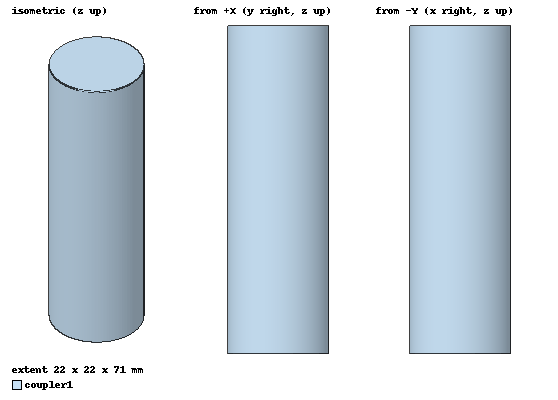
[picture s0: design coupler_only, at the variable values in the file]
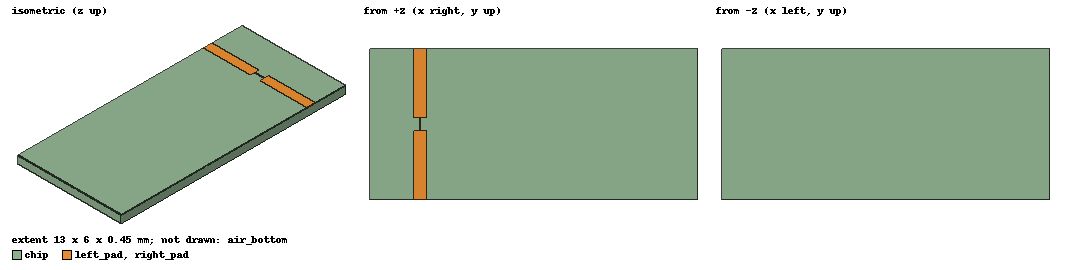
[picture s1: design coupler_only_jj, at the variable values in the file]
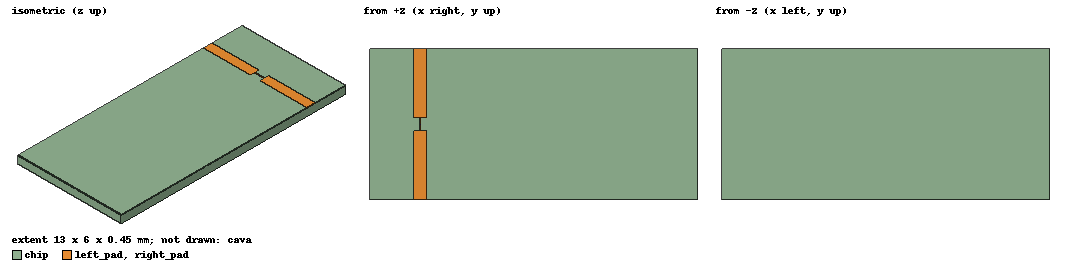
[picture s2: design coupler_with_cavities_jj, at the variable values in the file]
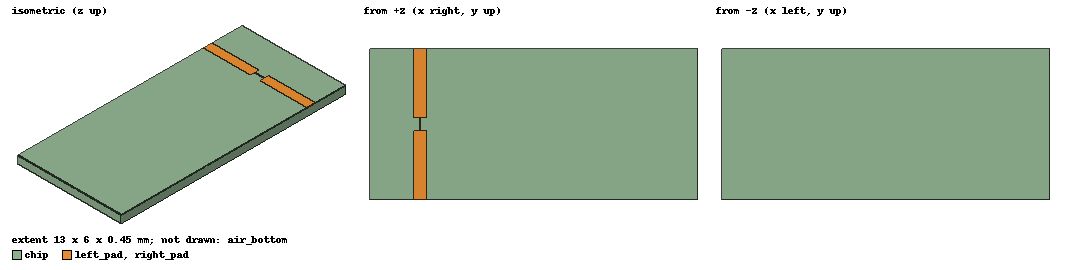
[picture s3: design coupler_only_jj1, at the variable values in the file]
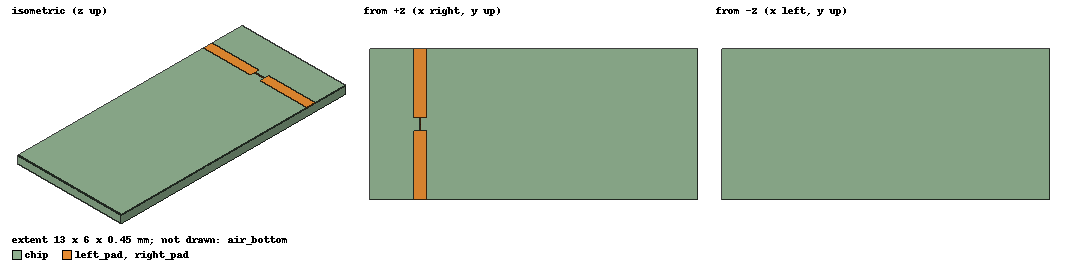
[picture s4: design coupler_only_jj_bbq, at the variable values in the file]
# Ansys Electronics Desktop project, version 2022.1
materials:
  vacuum: permittivity=1
  pec: conductivity=1e+30
  sapphire: permittivity=10 dielectric_loss_tangent=1.5e-08
  stycast: permittivity=2.772 dielectric_loss_tangent=5e-06 delta_H_freq=3000000

design coupler_only (HFSS, Eigenmode, model units mm)
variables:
  r_cpl = 10mm
  h_cpl = 70mm
  r_post = 2mm
  l_post = 7mm
  post_offset = 2mm
  h_bottom = 1mm
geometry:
  r_post = cylinder(axis=Z, base_centre=(0mm, post_offset/2 + r_post, 0mm), radius=r_post, height=l_post)
  l_post = cylinder(axis=Z, base_centre=(0mm, -post_offset/2-r_post, 0mm), radius=r_post, height=l_post)
  cavity_bottom = cylinder(axis=Z, base_centre=(0mm, 0mm, -h_bottom), radius=r_cpl, height=h_bottom)
  chip_slot = box(corner=(-r_post, -post_offset/2 - post_offset, -h_bottom), size=(r_cpl + r_post, post_offset + 2*post_offset, h_bottom))
  cavity_bottom.subtract(chip_slot)
  cavity_bottom.unite(l_post, r_post)
  coupler1 [vacuum] = cylinder(axis=Z, base_centre=(0mm, 0mm, -h_bottom), radius=1.1*r_cpl, height=h_cpl+h_bottom)
  coupler1.subtract(cavity_bottom)
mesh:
  Length1: LengthBased Faces=coupler1.face(2 of 3, at (-0.230304, 0, 0)) MaxLength=1mm
  Length2: LengthBased Faces=coupler1.face(1 of 3) MaxLength=5mm
  Length3: LengthBased Faces=coupler1.face(3 of 3) MaxLength=4.4mm
  Length4: LengthBased RefineInside Objects=coupler1 MaxLength=5mm
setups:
  Setup1: HfssEigen MinimumFrequency=2.14286GHz NumModes=2 MaxDeltaFreq=0.01 ConvergeOnRealFreq=true MaximumPasses=30 MinimumPasses=1 MinimumConvergedPasses=1 PercentRefinement=30 BasisOrder=-1
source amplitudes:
  #-10:1: 0 0deg
  #-10:2: 1 0deg
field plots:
  Vector_E1: E Field in coupler1 on Setup1 : LastAdaptive at Phase=0deg
  Vector_Jsurf1: Jsurf over coupler1.face(all 14) on Setup1 : LastAdaptive at Phase=90deg

design coupler_only_jj (HFSS, Eigenmode, model units mm)
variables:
  r_cpl = 10mm
  h_cpl = 75mm
  r_post = 2mm
  l_post = 7mm
  post_offset = 2mm
  h_bottom = 1mm
  w_pad = 0.5mm
  l_pad = w_slot/2-l_taper-l_junc/2
  l_junc = 50um
  w_junc = 50um
  l_taper = 0.25mm
  w_slot = post_offset+2*r_post
  LJ = 1nH
  h_chip = 0.45mm
  coupler_offset = 5mm
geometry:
  r_post = cylinder(axis=Z, base_centre=(0mm, post_offset/2 + r_post, 0mm), radius=r_post, height=l_post)
  l_post = cylinder(axis=Z, base_centre=(0mm, -post_offset/2-r_post, 0mm), radius=r_post, height=l_post)
  coupler1 = cylinder(axis=Z, base_centre=(0mm, 0mm, -h_bottom), radius=r_cpl, height=h_cpl+h_bottom)
  chip [sapphire] = box(corner=(-r_post, -w_slot/2, -h_chip), size=(1.1*r_cpl + r_post, w_slot, h_chip))
  left_pad = rectangle(corner=(-w_pad/2, -l_pad-l_taper-l_junc/2, 0mm), x_size=w_pad, y_size=l_pad)
  right_pad = rectangle(corner=(-w_pad/2, l_taper+l_junc/2, 0mm), x_size=w_pad, y_size=l_pad)
  left_taper = rectangle(corner=(-w_junc/2, -l_taper-l_junc/2, 0mm), x_size=w_junc, y_size=l_taper)
  right_taper = rectangle(corner=(-w_junc/2, l_junc/2, 0mm), x_size=w_junc, y_size=l_taper)
  jj = rectangle(corner=(-w_junc/2, -l_junc/2, 0mm), x_size=l_junc, y_size=w_junc)
  air_bottom [vacuum] = cylinder(axis=Z, base_centre=(0mm, 0mm, -h_chip), radius=r_cpl, height=h_chip)
  chip_2 = chip.copy()
  air_bottom.subtract(chip_2)
  air_bottom.unite(coupler1)
  air_bottom.subtract(l_post, r_post)
  chip_3 = chip.copy()
  air_bottom.subtract(chip_3)
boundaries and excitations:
  pads: Perfect E Objects=[left_pad, right_pad, left_taper, right_taper]
  LumpRLC1: Lumped RLC Objects=jj CurrentLine{(0, -0.025, 0) -> (0, 0.025, 0)} RLC_Type=Parallel Inductance=LJ
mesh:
  pads: LengthBased Objects=[right_pad, left_pad] MaxLength=w_pad/2
  junc_and_taper: LengthBased Objects=[right_taper, jj, left_taper] MaxLength=w_junc/2
  chip_inside: LengthBased RefineInside Objects=chip MaxLength=2.6mm
  cavity_top: LengthBased Faces=air_bottom.face(3 of 3) MaxLength=4.4mm
  chip_surface: LengthBased Faces=chip.face(+z) MaxLength=w_pad
  cavity_inside: LengthBased RefineInside Objects=air_bottom MaxLength=14.09mm
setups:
  Setup1: HfssEigen MinimumFrequency=0.1GHz NumModes=8 MaxDeltaFreq=0.05 ConvergeOnRealFreq=true MaximumPasses=35 MinimumPasses=1 MinimumConvergedPasses=1 PercentRefinement=30 BasisOrder=-1 ExpressionCache{CacheItem{Title=Q_1_1 Expression=Q(1) IsConvergence UseRelativeConvergence=1 MaxConvergenceDelta=10 MaxConvergeValue=0.01 TraceID=2336 ReportType=2} CacheItem{Title=Q_2_1 Expression=Q(2) IsConvergence UseRelativeConvergence=1 MaxConvergenceDelta=10 MaxConvergeValue=0.01 TraceID=2338 ReportType=2}}
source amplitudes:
  #-10:1: 1 0deg
  #-10:2..#-10:8: 0 0deg
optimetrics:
  LJ_sweep: Parametric Sim._Setups=[Setup1]
    sweep LJ: DEC 0.1nH 100nH 3
  hcpl_sweep: Parametric Sim._Setups=[Setup1]
    sweep h_cpl: LIN 75mm 350mm 25mm
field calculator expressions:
  IJ = Mag_Jsurf | EnterSurface(jj) | SurfaceValue | Integrate
  Uvac = Mag_E | 2 | Pow | EnterVolume(air_bottom) | VolumeValue | Integrate
  Uchip = Mag_E | 2 | Pow | EnterVolume(chip) | VolumeValue | Integrate | 11.49 | *
  Utot = Uvac | Uchip | +
  pe_chip = Uchip | Utot | /
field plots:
  Mesh1: MeshPlots on Setup1 : LastAdaptive at Phase=0deg
  Vector_Jsurf1: Jsurf over air_bottom.face(all 14) chip.face(all 6) left_pad.face right_pad.face left_taper.face right_taper.face jj.face on Setup1 : LastAdaptive at Phase=90deg
  Vector_E1: E Field on Setup1 : LastAdaptive at Phase=0deg
  Vector_H1: H Field on Setup1 : LastAdaptive at Phase=90deg
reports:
  Eigen Modes Plot 1: re(Mode(2)), re(Mode(1)), re(Mode(3)), re(Mode(4)) vs LJ on Setup1 : LastAdaptive; markers m1 at 0.1nH, m2 at 100nH, m3 at 0.1nH
   Plot 1: re(Mode(2)) - re(Mode(1)) vs LJ on Setup1 : LastAdaptive
  Solution Convergence Plot 1: MaxDeltaFreq vs Pass on Setup1 : AdaptivePass [LJ=all]
  Eigen Q Plot 1: Q(2), Q(1) vs LJ on Setup1 : LastAdaptive
  Calculator Expressions Plot 1: pe_chip vs LJ on Setup1 : LastAdaptive [h_cpl=75mm Phase=0deg]; markers m1 at 100nH, m2 at 10nH, m3 at 1nH

design coupler_with_cavities_jj (HFSS, Eigenmode, model units mm)
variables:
  r_cpl = 10mm
  h_cpl = 75mm
  r_post = 2mm
  l_post = 7mm
  post_offset = 2mm
  h_bottom = 1mm
  w_pad = 0.5mm
  l_pad = w_slot/2-l_taper-l_junc/2
  l_junc = 50um
  w_junc = 50um
  l_taper = 0.25mm
  w_slot = post_offset+2*r_post
  LJ = 1nH
  h_chip = 0.45mm
  r_a = 15mm
  l_a = 75mm
  coupler_offset = 2mm
  ra_post = 3mm
  la_post = 10mm
  r_b = 15mm
  l_b = 75mm
  rb_post = 3mm
  lb_post = 12mm
  r_cpl_arm = 4mm
  l_cpl_arm = 6mm
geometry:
  r_post = cylinder(axis=Z, base_centre=(0mm, post_offset/2 + r_post, 0mm), radius=r_post, height=l_post)
  l_post = cylinder(axis=Z, base_centre=(0mm, -post_offset/2-r_post, 0mm), radius=r_post, height=l_post)
  coupler1 = cylinder(axis=Z, base_centre=(0mm, 0mm, -h_bottom), radius=r_cpl, height=h_cpl+h_bottom)
  chip [sapphire] = box(corner=(-r_post, -w_slot/2, -h_chip), size=(1.1*r_cpl + r_post, w_slot, h_chip))
  left_pad = rectangle(corner=(-w_pad/2, -l_pad-l_taper-l_junc/2, 0mm), x_size=w_pad, y_size=l_pad)
  right_pad = rectangle(corner=(-w_pad/2, l_taper+l_junc/2, 0mm), x_size=w_pad, y_size=l_pad)
  left_taper = rectangle(corner=(-w_junc/2, -l_taper-l_junc/2, 0mm), x_size=w_junc, y_size=l_taper)
  right_taper = rectangle(corner=(-w_junc/2, l_junc/2, 0mm), x_size=w_junc, y_size=l_taper)
  jj = rectangle(corner=(-w_junc/2, -l_junc/2, 0mm), x_size=l_junc, y_size=w_junc)
  air_bottom = cylinder(axis=Z, base_centre=(0mm, 0mm, -h_chip), radius=r_cpl, height=h_chip)
  chip_2 = chip.copy()
  air_bottom.subtract(chip_2)
  air_bottom.unite(coupler1)
  air_bottom.subtract(l_post, r_post)
  chip_3 = chip.copy()
  air_bottom.subtract(chip_3)
  cavb = cylinder(axis=Z, base_centre=(0mm, r_cpl+r_b+ coupler_offset, 0mm), radius=r_b, height=l_b)
  cava [vacuum] = cylinder(axis=Z, base_centre=(0mm, -r_cpl-r_a-coupler_offset, 0mm), radius=r_a, height=l_a)
  postb = cylinder(axis=Z, base_centre=(0mm, r_b+r_cpl+coupler_offset, 0mm), radius=rb_post, height=lb_post)
  posta = cylinder(axis=Z, base_centre=(0mm, -r_cpl-r_a-coupler_offset, 0mm), radius=ra_post, height=la_post)
  coupler_a = cylinder(axis=Y, base_centre=(0mm, -r_cpl-1.5*coupler_offset, l_post + r_cpl_arm), radius=r_cpl_arm, height=2*coupler_offset)
  cava.subtract(posta)
  cavb.subtract(postb)
  coupler_b = cylinder(axis=Y, base_centre=(0mm, 0.9*r_cpl, l_post + r_cpl_arm), radius=r_cpl_arm, height=2*coupler_offset)
  cava.unite(air_bottom, coupler_a, coupler_b, cavb)
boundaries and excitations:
  pads: Perfect E Objects=[left_pad, right_pad, left_taper, right_taper]
  LumpRLC1: Lumped RLC Objects=jj CurrentLine{(0, -0.025, 0) -> (0, 0.025, 0)} RLC_Type=Parallel Inductance=LJ
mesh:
  pads: LengthBased Objects=[right_pad, left_pad] MaxLength=w_pad/2
  junc_and_taper: LengthBased Objects=[right_taper, jj, left_taper] MaxLength=w_junc/2
  chip_inside: LengthBased RefineInside Objects=chip MaxLength=2.6mm
  cavity_top: LengthBased Faces=cava.face(3 of 3) MaxLength=4.4mm
  chip_surface: LengthBased Faces=chip.face(+z) MaxLength=w_pad
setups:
  Setup1: HfssEigen MinimumFrequency=0.1GHz NumModes=4 MaxDeltaFreq=0.05 ConvergeOnRealFreq=true MaximumPasses=35 MinimumPasses=1 MinimumConvergedPasses=1 PercentRefinement=30 BasisOrder=-1 ExpressionCache{CacheItem{Title=Q_1_1 Expression=Q(1) IsConvergence UseRelativeConvergence=1 MaxConvergenceDelta=40 MaxConvergeValue=0.01 TraceID=2336 ReportType=2} CacheItem{Title=Q_2_1 Expression=Q(2) IsConvergence UseRelativeConvergence=1 MaxConvergenceDelta=40 MaxConvergeValue=0.01 TraceID=2338 ReportType=2}}
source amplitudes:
  #-10:1: 1 0deg
  #-10:2, #-10:3, #-10:4: 0 0deg
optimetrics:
  LJ_sweep: Parametric Sim._Setups=[Setup1]
    sweep LJ: DEC 0.1nH 100nH 3
  hcpl_sweep: Parametric Sim._Setups=[Setup1]
    sweep h_cpl: LIN 75mm 350mm 25mm
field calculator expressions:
  IJ = Mag_Jsurf | EnterSurface(jj) | SurfaceValue | Integrate
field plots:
  Vector_E1: E Field on Setup1 : LastAdaptive at Phase=0deg
  Vector_H1: H Field on Setup1 : LastAdaptive at Phase=90deg
  Vector_Jsurf1: Jsurf over jj.face on Setup1 : LastAdaptive at Phase=90deg
  Mesh1: MeshPlots on Setup1 : LastAdaptive at Phase=0deg
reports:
  Eigen Modes Plot 1: re(Mode(2)), re(Mode(1)), re(Mode(3)), re(Mode(4)) vs LJ on Setup1 : LastAdaptive; markers m1 at 0.1nH, m2 at 100nH
   Plot 1: re(Mode(2)) - re(Mode(1)) vs LJ on Setup1 : LastAdaptive
  Solution Convergence Plot 1: MaxDeltaFreq vs Pass on Setup1 : AdaptivePass [LJ=all]
  Eigen Q Plot 1: Q(2), Q(1) vs LJ on Setup1 : LastAdaptive

design coupler_only_jj1 (HFSS, Eigenmode, model units mm)
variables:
  r_cpl = 10mm
  h_cpl = 75mm
  r_post = 2mm
  l_post = 2mm
  post_offset = 2mm
  h_bottom = 1mm
  w_pad = 0.5mm
  l_pad = w_slot/2-l_taper-l_junc/2
  l_junc = 50um
  w_junc = 50um
  l_taper = 0.25mm
  w_slot = post_offset+2*r_post
  LJ = 1nH
  h_chip = 0.45mm
  coupler_offset = 5mm
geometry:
  r_post = cylinder(axis=Z, base_centre=(0mm, post_offset/2 + r_post, 0mm), radius=r_post, height=l_post)
  l_post = cylinder(axis=Z, base_centre=(0mm, -post_offset/2-r_post, 0mm), radius=r_post, height=l_post)
  coupler1 = cylinder(axis=Z, base_centre=(0mm, 0mm, -h_bottom), radius=r_cpl, height=h_cpl+h_bottom)
  chip [sapphire] = box(corner=(-r_post, -w_slot/2, -h_chip), size=(1.1*r_cpl + r_post, w_slot, h_chip))
  left_pad = rectangle(corner=(-w_pad/2, -l_pad-l_taper-l_junc/2, 0mm), x_size=w_pad, y_size=l_pad)
  right_pad = rectangle(corner=(-w_pad/2, l_taper+l_junc/2, 0mm), x_size=w_pad, y_size=l_pad)
  left_taper = rectangle(corner=(-w_junc/2, -l_taper-l_junc/2, 0mm), x_size=w_junc, y_size=l_taper)
  right_taper = rectangle(corner=(-w_junc/2, l_junc/2, 0mm), x_size=w_junc, y_size=l_taper)
  jj = rectangle(corner=(-w_junc/2, -l_junc/2, 0mm), x_size=l_junc, y_size=w_junc)
  air_bottom [vacuum] = cylinder(axis=Z, base_centre=(0mm, 0mm, -h_chip), radius=r_cpl, height=h_chip)
  chip_2 = chip.copy()
  air_bottom.subtract(chip_2)
  air_bottom.unite(coupler1)
  air_bottom.subtract(l_post, r_post)
  chip_3 = chip.copy()
  air_bottom.subtract(chip_3)
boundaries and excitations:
  pads: Perfect E Objects=[left_pad, right_pad, left_taper, right_taper]
  LumpRLC1: Lumped RLC Objects=jj CurrentLine{(0, -0.025, 0) -> (0, 0.025, 0)} RLC_Type=Parallel Inductance=LJ
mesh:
  pads: LengthBased Objects=[right_pad, left_pad] MaxLength=w_pad/2
  junc_and_taper: LengthBased Objects=[right_taper, jj, left_taper] MaxLength=w_junc/2
  chip_inside: LengthBased RefineInside Objects=chip MaxLength=2.6mm
  cavity_top: LengthBased Faces=air_bottom.face(3 of 3) MaxLength=4.4mm
  chip_surface: LengthBased Faces=chip.face(+z) MaxLength=w_pad
  cavity_inside: LengthBased RefineInside Objects=air_bottom MaxLength=14.09mm
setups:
  Setup1: HfssEigen MinimumFrequency=0.1GHz NumModes=4 MaxDeltaFreq=0.05 ConvergeOnRealFreq=true MaximumPasses=35 MinimumPasses=1 MinimumConvergedPasses=1 PercentRefinement=30 BasisOrder=-1 ExpressionCache{CacheItem{Title=Q_1_1 Expression=Q(1) IsConvergence UseRelativeConvergence=1 MaxConvergenceDelta=10 MaxConvergeValue=0.01 TraceID=2336 ReportType=2} CacheItem{Title=Q_2_1 Expression=Q(2) IsConvergence UseRelativeConvergence=1 MaxConvergenceDelta=10 MaxConvergeValue=0.01 TraceID=2338 ReportType=2}}
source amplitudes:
  #-10:1, #-10:3, #-10:4: 0 0deg
  #-10:2: 1 0deg
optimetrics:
  LJ_sweep: Parametric Sim._Setups=[Setup1]
    sweep LJ: DEC 0.1nH 100nH 3
  hcpl_sweep: Parametric Sim._Setups=[Setup1]
    sweep h_cpl: LIN 75mm 350mm 25mm
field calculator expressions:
  IJ = Mag_Jsurf | EnterSurface(jj) | SurfaceValue | Integrate
  Uvac = Mag_E | 2 | Pow | EnterVolume(air_bottom) | VolumeValue | Integrate
  Uchip = Mag_E | 2 | Pow | EnterVolume(chip) | VolumeValue | Integrate | 11.49 | *
  Utot = Uvac | Uchip | +
  pe_chip = Uchip | Utot | /
  Ujj = Mag_E | 2 | Pow | EnterSurface(jj) | SurfaceValue | Integrate | 3e-09 | *
  pe_jj = Ujj | Uvac | Uchip | + | Ujj | + | /
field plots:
  Mesh1: MeshPlots on Setup1 : LastAdaptive at Phase=0deg
  Vector_Jsurf1: Jsurf over air_bottom.face(all 14) chip.face(all 6) left_pad.face right_pad.face left_taper.face right_taper.face jj.face on Setup1 : LastAdaptive at Phase=90deg
  Vector_E1: E Field on Setup1 : LastAdaptive at Phase=0deg
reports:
  Eigen Modes Plot 1: re(Mode(2)), re(Mode(1)), re(Mode(3)), re(Mode(4)) vs LJ on Setup1 : LastAdaptive; markers m1 at 0.1nH, m2 at 100nH
   Plot 1: re(Mode(2)) - re(Mode(1)) vs LJ on Setup1 : LastAdaptive
  Solution Convergence Plot 1: MaxDeltaFreq vs Pass on Setup1 : AdaptivePass [LJ=all]
  Eigen Q Plot 1: Q(2), Q(1) vs LJ on Setup1 : LastAdaptive
  Calculator Expressions Plot 1: pe_chip, pe_jj vs LJ on Setup1 : LastAdaptive [h_cpl=75mm Phase=0deg]; markers m1 at 100nH, m2 at 46.415888nH

design coupler_only_jj_bbq (HFSS, DrivenModal, model units mm)
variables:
  r_cpl = 10mm
  h_cpl = 75mm
  r_post = 2mm
  l_post = 7mm
  post_offset = 2mm
  h_bottom = 1mm
  w_pad = 0.5mm
  l_pad = w_slot/2-l_taper-l_junc/2
  l_junc = 50um
  w_junc = 50um
  l_taper = 0.25mm
  w_slot = post_offset+2*r_post
  LJ = 1nH
  h_chip = 0.45mm
  coupler_offset = 5mm
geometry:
  r_post = cylinder(axis=Z, base_centre=(0mm, post_offset/2 + r_post, 0mm), radius=r_post, height=l_post)
  l_post = cylinder(axis=Z, base_centre=(0mm, -post_offset/2-r_post, 0mm), radius=r_post, height=l_post)
  coupler1 = cylinder(axis=Z, base_centre=(0mm, 0mm, -h_bottom), radius=r_cpl, height=h_cpl+h_bottom)
  chip [sapphire] = box(corner=(-r_post, -w_slot/2, -h_chip), size=(1.1*r_cpl + r_post, w_slot, h_chip))
  left_pad = rectangle(corner=(-w_pad/2, -l_pad-l_taper-l_junc/2, 0mm), x_size=w_pad, y_size=l_pad)
  right_pad = rectangle(corner=(-w_pad/2, l_taper+l_junc/2, 0mm), x_size=w_pad, y_size=l_pad)
  left_taper = rectangle(corner=(-w_junc/2, -l_taper-l_junc/2, 0mm), x_size=w_junc, y_size=l_taper)
  right_taper = rectangle(corner=(-w_junc/2, l_junc/2, 0mm), x_size=w_junc, y_size=l_taper)
  jj = rectangle(corner=(-w_junc/2, -l_junc/2, 0mm), x_size=l_junc, y_size=w_junc)
  air_bottom [vacuum] = cylinder(axis=Z, base_centre=(0mm, 0mm, -h_chip), radius=r_cpl, height=h_chip)
  chip_2 = chip.copy()
  air_bottom.subtract(chip_2)
  air_bottom.unite(coupler1)
  air_bottom.subtract(l_post, r_post)
  chip_3 = chip.copy()
  air_bottom.subtract(chip_3)
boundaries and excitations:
  pads: Perfect E Objects=[left_pad, right_pad, left_taper, right_taper]
  1: Lumped Port Objects=jj Modes{Mode1{IntLine{(0, -0.025, 0) -> (0, 0.025, 0)} CharImp=Zpi RenormImp=50ohm}} Impedance=50ohm
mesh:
  pads: LengthBased Objects=[right_pad, left_pad] MaxLength=w_pad/2
  junc_and_taper: LengthBased Objects=[right_taper, jj, left_taper] MaxLength=w_junc/2
  chip_inside: LengthBased RefineInside Objects=chip MaxLength=2.6mm
  cavity_top: LengthBased Faces=air_bottom.face(3 of 3) MaxLength=4.4mm
  chip_surface: LengthBased Faces=chip.face(+z) MaxLength=w_pad
  cavity_inside: LengthBased RefineInside Objects=air_bottom MaxLength=14.09mm
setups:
  Setup: HfssDriven Frequency=1GHz MaxDeltaS=0.1 MaximumPasses=10 MinimumPasses=1 MinimumConvergedPasses=1 PercentRefinement=30 BasisOrder=-1 PortAccuracy=2 DrivenSolverType="Direct Solver"
    sweep Interpolating_0: 0.1GHz to 10GHz, 20001 points; Type=Interpolating SaveFields InterpTolerance=0.5 InterpMaxSolns=250 InterpUsePortImped=false PassivityErrorTolerance=0.0001
    sweep Discrete_Sweep_0: 0.1GHz to 5.158504GHz, 201 points; Type=Discrete SaveFields
  Setup1: HfssDriven Frequency=1GHz MaxDeltaS=0.1 MaximumPasses=10 MinimumPasses=1 MinimumConvergedPasses=1 PercentRefinement=30 BasisOrder=-1 PortAccuracy=2 DrivenSolverType="Direct Solver"
    sweep Interpolating_0: 0.1GHz to 10GHz, 20001 points; Type=Interpolating SaveFields InterpTolerance=0.5 InterpMaxSolns=250 InterpUsePortImped=false PassivityErrorTolerance=0.0001
    sweep Discrete_Sweep_0: 0.1GHz to 5.158504GHz, 201 points; Type=Discrete SaveFields
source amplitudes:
  1:1: 1W 0deg
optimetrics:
  LJ_sweep: Parametric
    sweep LJ: DEC 0.1nH 100nH 3
  hcpl_sweep: Parametric
    sweep h_cpl: LIN 75mm 350mm 25mm
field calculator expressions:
  IJ = Mag_Jsurf | EnterSurface(jj) | SurfaceValue | Integrate
  Uvac = Mag_E | 2 | Pow | EnterVolume(air_bottom) | VolumeValue | Integrate
  Uchip = Mag_E | 2 | Pow | EnterVolume(chip) | VolumeValue | Integrate | 11.49 | *
  Utot = Uvac | Uchip | +
  pe_chip = Uchip | Utot | /
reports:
  Interpolating_0: im(Y(1,1)) vs Freq on Setup : Interpolating_0
  Interpolating_01: im(Y(1,1)) vs Freq on Setup1 : Interpolating_0
  Discrete_Sweep_0: re(Y(1,1)) vs Freq on Setup1 : Discrete_Sweep_0
  Discrete_Sweep_01: im(Y(1,1)) vs Freq on Setup1 : Discrete_Sweep_0
